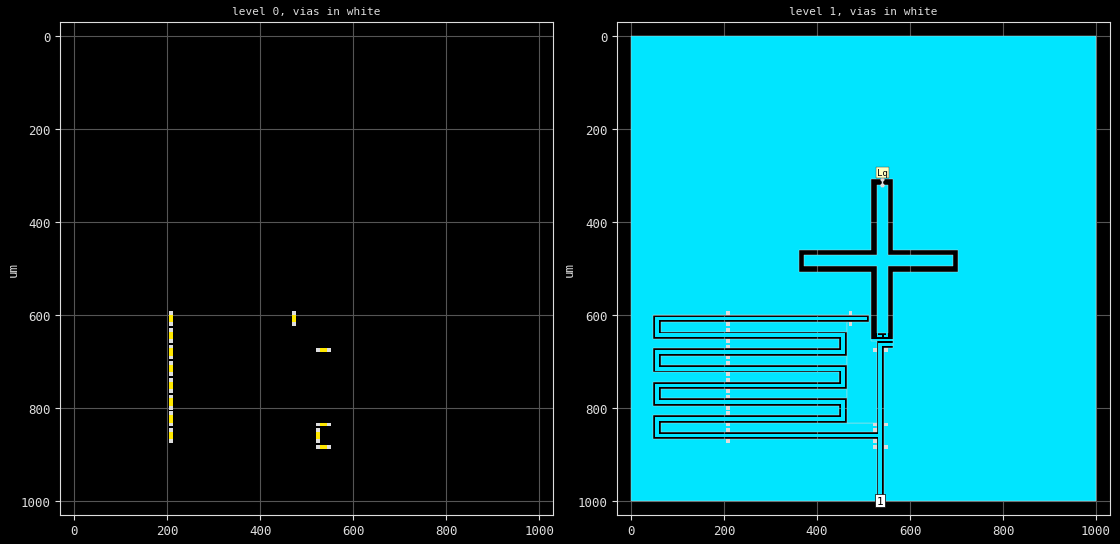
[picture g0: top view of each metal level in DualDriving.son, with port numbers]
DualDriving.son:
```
FTYP SONPROJ 15 ! Sonnet Project File
VER 16.52
HEADER
LIC calt2.2.43068 b4ae2bd1247e DESKTOP-SL82IK9 Michael
DAT 06/27/2016 11:03:55
BUILT_BY_CREATED xgeom 16.52 04/11/2016 14:48:12
BUILT_BY_SAVED xgeom 16.52
MDATE 06/27/2016 11:03:55
HDATE 06/27/2016 11:03:55
END HEADER
DIM
FREQ GHZ
IND NH
LNG UM
ANG DEG
CON /OH
CAP PF
RES OH
END DIM
FREQ
ABS 5.0 26.0 
END FREQ
CONTROL
ABS
OPTIONS  -dj 
SPEED 0
CACHE_ABS 1
TARG_ABS 300
Q_ACC Y
DET_ABS_RES Y
END CONTROL
GEO
DRP1 RIGHT FIX 100
TMET "Lossless" 0 SUP 0 0 0 0
BMET "Lossless" 0 SUP 0 0 0 0
BOX 3 1000 1000 500 500 20 0
      500 1 1 0 0 0 0 "Unnamed"
      10 1 1 0 0 0 0 "Unnamed"
      500 11.9 1 5e-006 0 0 0 "Silicon (intrinsic)"
      500 1 1 0 0 0 0 "Unnamed"
LORGN 0 1000 U 
POR1 STD
POLY 30 1
2
1 50 0 0 0 536.0000043 1000 
SMD 1 "Lq"
ID 24
GNDREF F
TWTYPE CUST
TWVALUE 4
SBOX 537 543 310.9999967 316.9999968
PBSHW N
LPOS 540 310.9999967
TYPE IDEAL IND 9.4
SMDP 1 540 307.9999967 T 2 1 
SMDP 1 540 319.9999969 B 3 2 
END
NUM 54
0 5 -1 N 10 1 1 100 100 0 0 0 Y
520 672
552 672
552 680
520 680
520 672
END
0 5 -1 N 11 1 1 100 100 0 0 0 Y
520 844
528 844
528 876
520 876
520 844
END
0 5 -1 N 12 1 1 100 100 0 0 0 Y
468 592
476 592
476 624
468 624
468 592
END
0 5 -1 N 13 1 1 100 100 0 0 0 Y
204 844
212 844
212 876
204 876
204 844
END
0 5 -1 N 14 1 1 100 100 0 0 0 Y
204 808
212 808
212 840
204 840
204 808
END
0 5 -1 N 15 1 1 100 100 0 0 0 Y
204 772
212 772
212 804
204 804
204 772
END
0 5 -1 N 16 1 1 100 100 0 0 0 Y
204 736
212 736
212 768
204 768
204 736
END
0 5 -1 N 17 1 1 100 100 0 0 0 Y
204 700
212 700
212 732
204 732
204 700
END
0 5 -1 N 18 1 1 100 100 0 0 0 Y
204 664
212 664
212 696
204 696
204 664
END
0 5 -1 N 19 1 1 100 100 0 0 0 Y
204 628
212 628
212 660
204 660
204 628
END
0 5 -1 N 20 1 1 100 100 0 0 0 Y
204 592
212 592
212 624
204 624
204 592
END
0 5 -1 N 21 1 1 100 100 0 0 0 Y
520 880
552 880
552 888
520 888
520 880
END
0 5 -1 N 22 1 1 100 100 0 0 0 Y
520 832
552 832
552 840
520 840
520 832
END
1 13 -1 N 27 1 1 100 100 0 0 0 Y
552 496
691.9999709 496
691.9999709 472
552 472
552 319.9999969
528 319.9999969
528 472
372 472
372 496
528 496
528 639.9999909
552 639.9999909
552 496
END
1 5 -1 N 30 1 1 100 100 0 0 0 Y
532.0000085 864.000045
540 864.000045
540 1000
532.0000085 1000
532.0000085 864.000045
END
1 5 -1 N 33 1 1 100 100 0 0 0 Y
532 659.9999851
539.9999547 659.9999851
539.9999547 856
532 856
532 659.9999851
END
1 5 -1 N 34 1 1 100 100 0 0 0 Y
540 660
564 660
564 668.0000147
540 668.0000147
540 660
END
1 5 -1 N 35 1 1 100 100 0 0 0 Y
516.0000126 651.9999917
564.0000504 651.9999917
564.0000504 656.0000136
516.0000126 656.0000136
516.0000126 651.9999917
END
1 5 -1 N 41 1 1 100 100 0 0 0 Y
64 832
528 832
528 852
64 852
64 832
END
1 5 -1 N 49 1 1 100 100 0 0 0 Y
528 639.9999909
532 639.9999909
532 648
528 648
528 639.9999909
END
1 5 -1 N 50 1 1 100 100 0 0 0 Y
548 639.9999909
552 639.9999909
552 648
548 648
548 639.9999909
END
1 5 -1 N 51 1 1 100 100 0 0 0 Y
532 643.9999954
540.0000351 643.9999954
540.0000351 648
532 648
532 643.9999954
END
1 5 -1 N 52 1 1 100 100 0 0 0 Y
544 643.9999954
548 643.9999954
548 648
544 648
544 643.9999954
END
1 5 -1 N 61 1 1 100 100 0 0 0 Y
64.00002069 760
463.9999812 760
463.9999812 780
64.00002069 780
64.00002069 760
END
1 5 -1 N 63 1 1 100 100 0 0 0 Y
64.00002069 688
463.9999812 688
463.9999812 708
64.00002069 708
64.00002069 688
END
1 5 -1 N 70 1 1 100 100 0 0 0 Y
64.00002069 616
463.9999812 616
463.9999812 636
64.00002069 636
64.00002069 616
END
VIA POLYGON
1 5 -1 N 75 1 1 100 100 0 0 0 Y
TOLEVEL 0 RING NOCOVERS
520 672
528 672
528 680
520 680
520 672
END
VIA POLYGON
1 5 -1 N 76 1 1 100 100 0 0 0 Y
TOLEVEL 0 RING NOCOVERS
544 672
552 672
552 680
544 680
544 672
END
VIA POLYGON
1 5 -1 N 77 1 1 100 100 0 0 0 Y
TOLEVEL 0 RING NOCOVERS
520 868
528 868
528 876
520 876
520 868
END
VIA POLYGON
1 5 -1 N 78 1 1 100 100 0 0 0 Y
TOLEVEL 0 RING NOCOVERS
520 844
528 844
528 852
520 852
520 844
END
VIA POLYGON
1 5 -1 N 79 1 1 100 100 0 0 0 Y
TOLEVEL 0 RING NOCOVERS
468 616
476 616
476 624
468 624
468 616
END
VIA POLYGON
1 5 -1 N 80 1 1 100 100 0 0 0 Y
TOLEVEL 0 RING NOCOVERS
468 592
476 592
476 600
468 600
468 592
END
VIA POLYGON
1 5 -1 N 81 1 1 100 100 0 0 0 Y
TOLEVEL 0 RING NOCOVERS
204 868
212 868
212 876
204 876
204 868
END
VIA POLYGON
1 5 -1 N 82 1 1 100 100 0 0 0 Y
TOLEVEL 0 RING NOCOVERS
204 844
212 844
212 852
204 852
204 844
END
VIA POLYGON
1 5 -1 N 83 1 1 100 100 0 0 0 Y
TOLEVEL 0 RING NOCOVERS
204 832
212 832
212 840
204 840
204 832
END
VIA POLYGON
1 5 -1 N 84 1 1 100 100 0 0 0 Y
TOLEVEL 0 RING NOCOVERS
204 808
212 808
212 816
204 816
204 808
END
VIA POLYGON
1 5 -1 N 85 1 1 100 100 0 0 0 Y
TOLEVEL 0 RING NOCOVERS
204 796
212 796
212 804
204 804
204 796
END
VIA POLYGON
1 5 -1 N 86 1 1 100 100 0 0 0 Y
TOLEVEL 0 RING NOCOVERS
204 772
212 772
212 780
204 780
204 772
END
VIA POLYGON
1 5 -1 N 87 1 1 100 100 0 0 0 Y
TOLEVEL 0 RING NOCOVERS
204 760
212 760
212 768
204 768
204 760
END
VIA POLYGON
1 5 -1 N 88 1 1 100 100 0 0 0 Y
TOLEVEL 0 RING NOCOVERS
204 736
212 736
212 744
204 744
204 736
END
VIA POLYGON
1 5 -1 N 89 1 1 100 100 0 0 0 Y
TOLEVEL 0 RING NOCOVERS
204 724
212 724
212 732
204 732
204 724
END
VIA POLYGON
1 5 -1 N 90 1 1 100 100 0 0 0 Y
TOLEVEL 0 RING NOCOVERS
204 700
212 700
212 708
204 708
204 700
END
VIA POLYGON
1 5 -1 N 91 1 1 100 100 0 0 0 Y
TOLEVEL 0 RING NOCOVERS
204 688
212 688
212 696
204 696
204 688
END
VIA POLYGON
1 5 -1 N 92 1 1 100 100 0 0 0 Y
TOLEVEL 0 RING NOCOVERS
204 664
212 664
212 672
204 672
204 664
END
VIA POLYGON
1 5 -1 N 93 1 1 100 100 0 0 0 Y
TOLEVEL 0 RING NOCOVERS
204 652
212 652
212 660
204 660
204 652
END
VIA POLYGON
1 5 -1 N 94 1 1 100 100 0 0 0 Y
TOLEVEL 0 RING NOCOVERS
204 628
212 628
212 636
204 636
204 628
END
VIA POLYGON
1 5 -1 N 95 1 1 100 100 0 0 0 Y
TOLEVEL 0 RING NOCOVERS
204 616
212 616
212 624
204 624
204 616
END
VIA POLYGON
1 5 -1 N 96 1 1 100 100 0 0 0 Y
TOLEVEL 0 RING NOCOVERS
204 592
212 592
212 600
204 600
204 592
END
VIA POLYGON
1 5 -1 N 97 1 1 100 100 0 0 0 Y
TOLEVEL 0 RING NOCOVERS
520 880
528 880
528 888
520 888
520 880
END
VIA POLYGON
1 5 -1 N 98 1 1 100 100 0 0 0 Y
TOLEVEL 0 RING NOCOVERS
544 880
552 880
552 888
544 888
544 880
END
VIA POLYGON
1 5 -1 N 99 1 1 100 100 0 0 0 Y
TOLEVEL 0 RING NOCOVERS
520 832
528 832
528 840
520 840
520 832
END
VIA POLYGON
1 5 -1 N 100 1 1 100 100 0 0 0 Y
TOLEVEL 0 RING NOCOVERS
544 832
552 832
552 840
544 840
544 832
END
1 50 -1 N 119 1 1 100 100 0 0 0 Y
540 856
60 856
60 828.0000247
460 828.0000247
460 820
460 792.0000247
460 784
60 784
60 756.0000247
460 756.0000247
460 748
460 720.0000247
460 712
60 712
60 684.0000247
460 684.0000247
460 676
460 648.0000247
460 640
60 640
60 612.0000247
460 612.0000247
460 612
508 612
508 604
51.9999738 604
51.9999738 612.0000247
51.9999738 640
51.9999738 648.0000247
452 648.0000247
452 676
51.9999738 676
51.9999738 684.0000247
51.9999738 712
51.9999738 720.0000247
452 720.0000247
452 748
51.9999738 748
51.9999738 756.0000247
51.9999738 784
51.9999738 792.0000247
452 792.0000247
452 820
51.9999738 820
51.9999738 828.0000247
51.9999738 856
52.00001941 856
52.00001941 863.9999955
540 863.9999955
540 856
END
1 61 -1 N 123 1 1 100 100 0 0 0 Y
1000 656.0000136
1000 508.0000194
1000 460
1000 236
1000 0
0 0
0 236
0 596.0000348
0 656.0000136
-2.312681663e-005 656.0000136
-2.312681663e-005 868.0000278
-2.312681663e-005 1000
528.0000077 1000
528.0000077 868.0000278
48 868.0000278
48 816
447.9999812 816
447.9999812 796
48 796
48 744
447.9999812 744
447.9999812 724
48 724
48 672
447.9999812 672
447.9999812 652
48 652
48 599.9999955
512 599.9999955
512 616
463.9999812 616
463.9999812 656.0000136
464 656.0000136
464 680
464 832
528 832
528 680
528 656.0000136
516 656.0000136
516 616
516.0000126 616
516.0000126 599.9999955
516.0000126 508
360.0000125 508
360.0000125 460
516 460
516 307.9999967
564 307.9999967
564 460
704 460
704 508
564.0000504 508
564.0000504 656.0000136
564.0000504 671.9999671
544.0000054 671.9999671
544.0000054 700
544 700
544 852
544 1000
1000 1000
1000 656.0000136
END
END GEO
OPT
MAX 100
VARS
END
END OPT
VARSWP
END VARSWP
QSG
IMPORT NO
EXTRA_METAL NO
UNITS NO
ALIGN NO
REF NO
VIEW_RES YES
METALS NO
USED YES
END QSG
```
